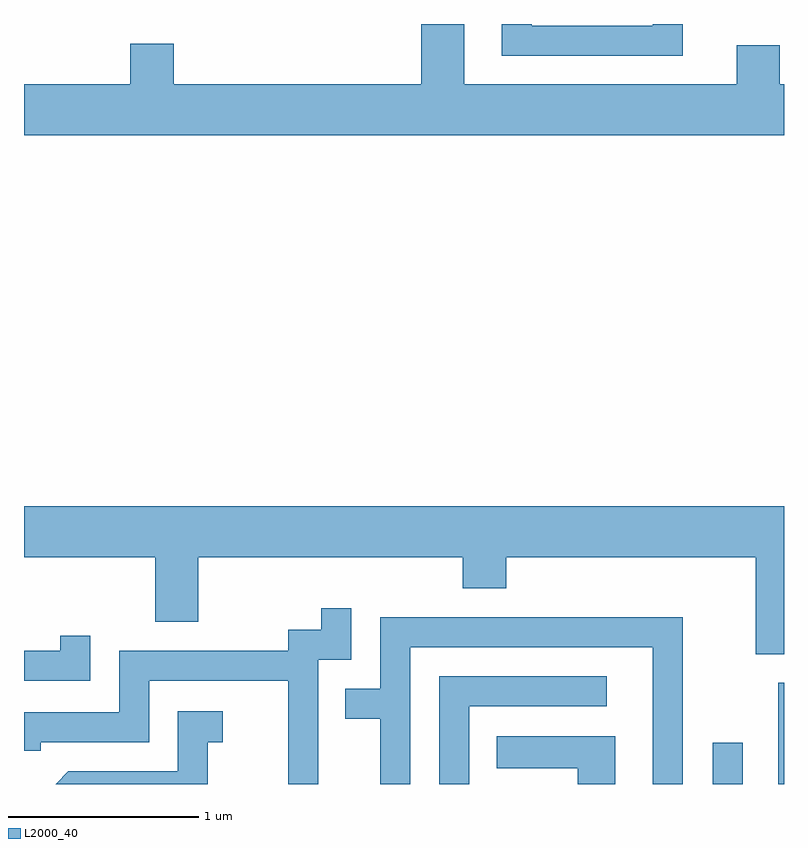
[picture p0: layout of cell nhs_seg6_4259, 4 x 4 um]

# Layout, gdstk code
import gdstk
lib = gdstk.Library(unit=1e-6, precision=1e-09)
def R(c, l, rs):  # rectangles x0, y0, x1, y1
    for r in rs: c.add(gdstk.rectangle(r[:2], r[2:], *l))
def P(c, l, *ps):  # polygons
    for p in ps: c.add(gdstk.Polygon(p, *l))
L2000_40 = (2000, 40)

nhs_seg6_4259 = lib.new_cell('nhs_seg6_4259')
R(nhs_seg6_4259, L2000_40, [(319.236,1562.162,319.394,1562.378), (319.581,1562.162,319.611,1562.694)])
P(nhs_seg6_4259, L2000_40, [(319.611,1565.844),(319.589,1565.844),(319.589,1566.049),(319.361,1566.049),(319.361,1565.844),(317.929,1565.844),(317.929,1566.162),(317.701,1566.162),(317.701,1565.844),(316.399,1565.844),(316.399,1566.059),(316.171,1566.059),(316.171,1565.844),(315.611,1565.844),(315.611,1565.576),(319.611,1565.576)],
  [(319.079,1566.162),(318.921,1566.162),(318.921,1566.154),(318.284,1566.154),(318.284,1566.162),(318.126,1566.162),(318.126,1565.996),(319.079,1565.996)],
  [(319.611,1563.624),(315.611,1563.624),(315.611,1563.356),(316.301,1563.356),(316.301,1563.016),(316.529,1563.016),(316.529,1563.356),(317.921,1563.356),(317.921,1563.191),(318.149,1563.191),(318.149,1563.356),(319.461,1563.356),(319.461,1562.846),(319.611,1562.846)],
  [(317.159,1562.816),(317.334,1562.816),(317.334,1563.088),(317.176,1563.088),(317.176,1562.974),(317.001,1562.974),(317.001,1562.864),(316.111,1562.864),(316.111,1562.539),(315.611,1562.539),(315.611,1562.336),(315.699,1562.336),(315.699,1562.381),(316.269,1562.381),(316.269,1562.706),(317.001,1562.706),(317.001,1562.162),(317.159,1562.162)],
  [(317.644,1562.881),(318.921,1562.881),(318.921,1562.162),(319.079,1562.162),(319.079,1563.039),(317.486,1563.039),(317.486,1562.664),(317.303,1562.664),(317.303,1562.506),(317.486,1562.506),(317.486,1562.162),(317.644,1562.162)],
  [(315.959,1562.943),(315.801,1562.943),(315.801,1562.864),(315.611,1562.864),(315.611,1562.706),(315.959,1562.706)],
  [(317.954,1562.571),(318.678,1562.571),(318.678,1562.729),(317.796,1562.729),(317.796,1562.162),(317.954,1562.162)],
  [(316.579,1562.381),(316.658,1562.381),(316.658,1562.544),(316.421,1562.544),(316.421,1562.229),(315.844,1562.229),(315.777,1562.162),(316.579,1562.162)],
  [(318.724,1562.414),(318.098,1562.414),(318.098,1562.246),(318.526,1562.246),(318.526,1562.162),(318.724,1562.162)])

lib.write_gds('nhs_seg6_4259.gds')
